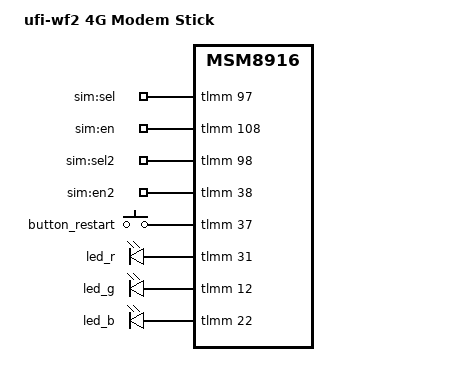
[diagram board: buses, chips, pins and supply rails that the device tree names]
// SPDX-License-Identifier: GPL-2.0-only

/dts-v1/;

#include "msm8916-mifi.dtsi"

/ {
	model = "ufi-wf2 4G Modem Stick";
	compatible = "xinxun,wf2", "qcom,msm8916";
	leds: leds {
		sim_sel {
			label = "sim:sel";
			gpios = <&tlmm 97 GPIO_ACTIVE_HIGH>;
			default-state = "on";
		};

		sim_en {
			label = "sim:en";
			gpios = <&tlmm 108 GPIO_ACTIVE_HIGH>;
			default-state = "off";
		};

		sim_sel2 {
			label = "sim:sel2";
			gpios = <&tlmm 98 GPIO_ACTIVE_HIGH>;
			default-state = "off";
		};

		sim_en2 {
			label = "sim:en2";
			gpios = <&tlmm 38 GPIO_ACTIVE_HIGH>;
			default-state = "off";
		};
	};
};

&button_restart {
	gpios = <&tlmm 37 GPIO_ACTIVE_HIGH>;
};

&led_r {
	gpios = <&tlmm 31 GPIO_ACTIVE_HIGH>;
};

&led_g {
	gpios = <&tlmm 12 GPIO_ACTIVE_HIGH>;
};

&led_b {
	gpios = <&tlmm 22 GPIO_ACTIVE_HIGH>;
};

&button_default {
	pins = "gpio37";
	bias-pull-down;
};

&gpio_leds_default {
	pins = "gpio12","gpio22","gpio31","gpio38","gpio97","gpio98", "gpio108";
};
